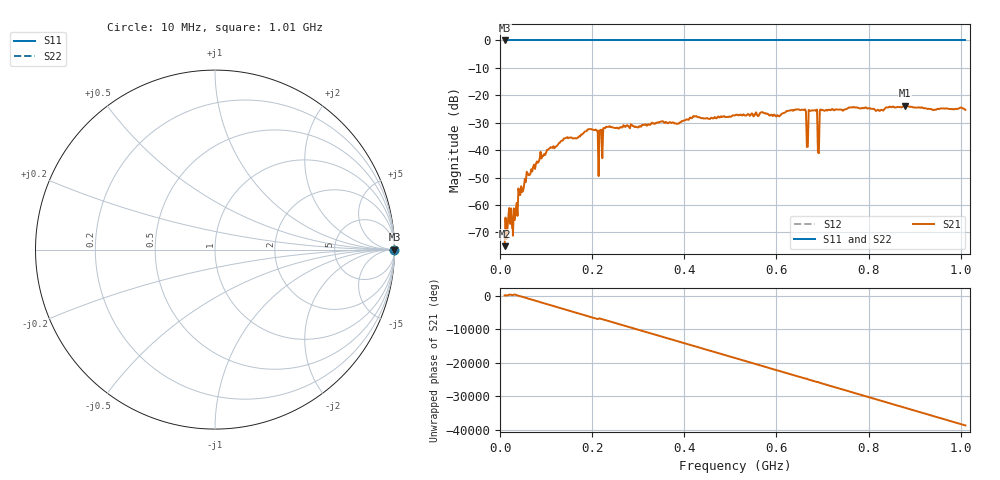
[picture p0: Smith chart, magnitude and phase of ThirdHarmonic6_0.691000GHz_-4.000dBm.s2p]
! 8/15/2025 11:04:07 PM
! C:\ANRITSUVNA\TEMP\TEMP.S2P
! CHANNEL.1
! TR.MEASUREMENT
! RAW.DATA
! RF.CORRECTION.OFF
! AVERAGING.OFF
! IF.BANDWIDTH: 5KHZ
! SWEEPTYPE:  FREQ.SWEEP(Linear)
! Reference Plane Port Info
! PORT:  PORT1  PORT2
! DISTANCE:  0  m  0  m
! TIME:  0  s  0  s
! PHASE.OFFSET:  0  deg.  0  deg.
! LOSS:  0  dB  0  dB
! REF.LOSS:  0  dB  0  dB
! REF.FREQ:  0  Hz  0  Hz
! Power Info
! POWER:  -20  dBm  -20  dBm
! EFF.POWER:  -20  dBm  -20  dBm
! SOURCE.ATTEN:  0  dB  0  dB
! TEST.ATTEN:  0  dB  0  dB
# GHZ S RI R 50.0
! FREQ.GHZ  S11RE  S11IM  S21RE  S21IM  S12RE  S12IM  S22RE  S22IM
!; PortSelection: Port_12
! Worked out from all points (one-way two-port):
!   501 points, 10 MHz to 1.01 GHz, reference 50 ohm
!   highest |S21| = -23.83 dB at 878 MHz (marker M1); lowest = -75.1 dB at 10 MHz (marker M2)
!   lowest |S11| = 0.0 dB at 10 MHz (marker M3)
!   |S11| at or under -10 dB: nowhere
!   |S22| runs from 0.0 to 0.0 dB; largest |S21 - S12| = 1.1
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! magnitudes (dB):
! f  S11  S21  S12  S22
! 10 MHz  0.0  -75.1  0.0  0.0
! 16 MHz  0.0  -69.1  0.0  0.0
! 30 MHz  0.0  -61.3  0.0  0.0
! 44 MHz  0.0  -56.4  0.0  0.0
! 58 MHz  0.0  -47.9  0.0  0.0
! 84 MHz  0.0  -44.2  0.0  0.0
! 178 MHz  0.0  -34.3  0.0  0.0
! 208 MHz  0.0  -32.5  0.0  0.0
! 218 MHz  0.0  -32.7  0.0  0.0
! 228 MHz  0.0  -32.0  0.0  0.0
! 344 MHz  0.0  -30.0  0.0  0.0
! 510 MHz  0.0  -27.3  0.0  0.0
! 658 MHz  0.0  -25.3  0.0  0.0
! 668 MHz  0.0  -38.8  0.0  0.0
! 678 MHz  0.0  -25.5  0.0  0.0
! 684 MHz  0.0  -25.4  0.0  0.0
! 690 MHz  0.0  -40.7  0.0  0.0
! 694 MHz  0.0  -25.5  0.0  0.0
! 698 MHz  0.0  -25.5  0.0  0.0
! 844 MHz  0.0  -24.3  0.0  0.0
! 878 MHz  0.0  -23.8  0.0  0.0
! 1.01 GHz  0.0  -25.3  0.0  0.0
